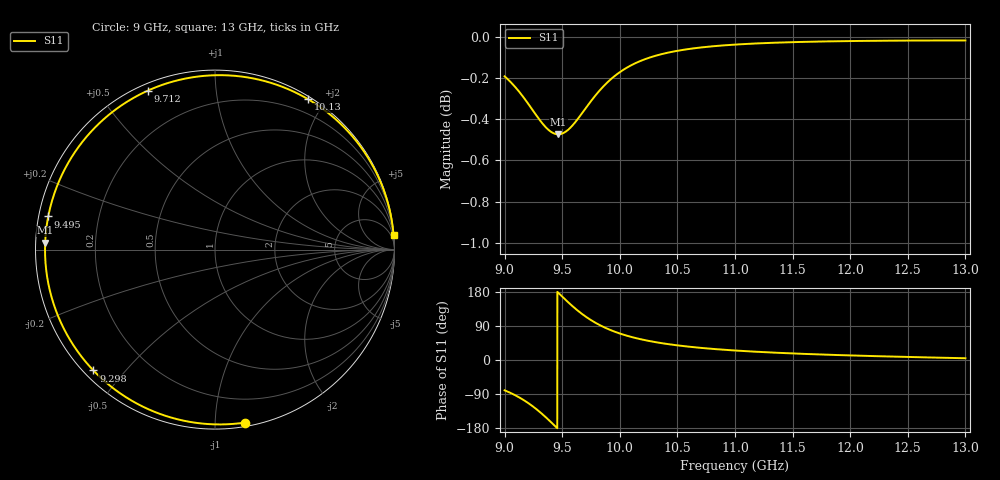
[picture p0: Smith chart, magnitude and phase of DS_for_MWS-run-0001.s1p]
! TOUCHSTONE file generated by CST DESIGN STUDIO
! Date and time: Wed Feb  5 13:33:15 2025
! Project name: C:\Work\MatlabApps\UnitCellOptimizationMatlab\CST\unitcell.cst
! Tree item: Tasks\Sweep1\SPara1\S-Parameters
! Header version: 2024
! Port assignment regex: !\s*Touchstone port\s*([0-9]+)\s*=\s*(CST MWS port|CST DES external port|CST DES block port)\s*(.+)\s* \(\"(.*)\"\)(\s*mode\s*([0-9]+))?.*
! Touchstone port assignment:
! Touchstone port 1 = CST DES external port 1 ("")
# GHz S MA R 50
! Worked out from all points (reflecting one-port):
!   4001 points, 9 GHz to 13 GHz, reference 50 ohm
!   lowest |S11| = -0.5 dB at 9.465 GHz (marker M1), VSWR 36.74, Z = 1.36 + j1.03 ohm
!   phase of S11 starts at -80 deg and turns -275 deg over the sweep
!   S11 on the Smith chart (normalised r, x): 9 GHz: 0.03, -1.19; 9.298 GHz: 0.03, -0.41; 9.495 GHz: 0.03, +0.10; 9.712 GHz: 0.03, +0.66; 10.13 GHz: 0.03, +1.80; 13 GHz: 1, +25
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9  0.9782 -80.0
9.072  0.9738 -89.9
9.168  0.9665 -106.2
9.235  0.9607 -120.1
9.298  0.9552 -135.2
9.342  0.9518 -146.8
9.388  0.949 -159.7
9.427  0.9475 -171.1
9.465  0.947 177.6
9.495  0.9473 168.8
9.5  0.9474 167.3
9.551  0.9494 152.6
9.609  0.9531 136.9
9.66  0.9572 124.3
9.712  0.9616 112.8
9.769  0.9663 101.7
9.832  0.971 91.1
9.914  0.9762 79.7
10  0.9805 69.9
10.134  0.9854 58.2
10.299  0.9893 47.7
10.5  0.9923 38.6
10.722  0.9943 31.5
11  0.9958 25.1
11.5  0.9971 17.3
12  0.9977 12.1
12.5  0.998 8.0
13  0.9981 4.6
